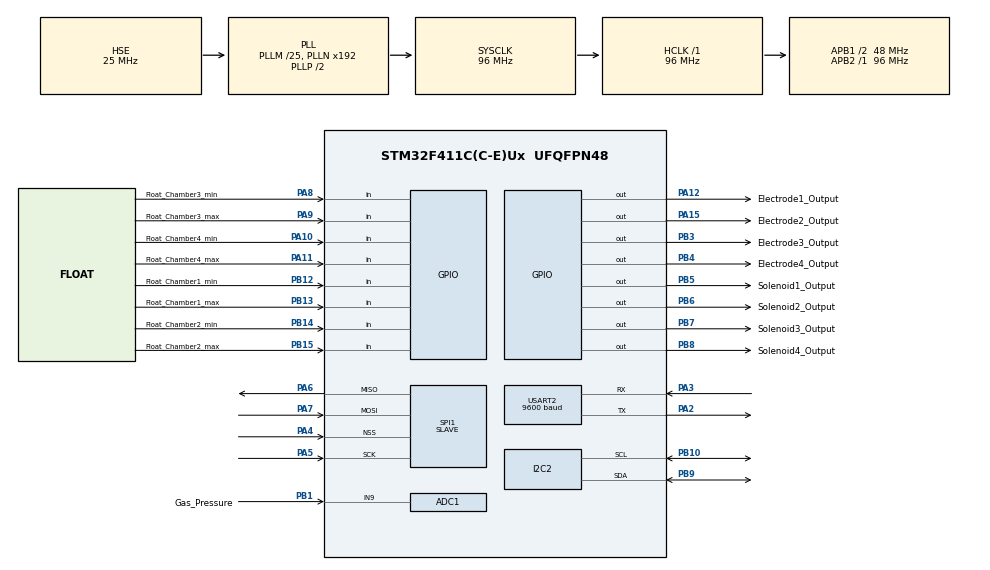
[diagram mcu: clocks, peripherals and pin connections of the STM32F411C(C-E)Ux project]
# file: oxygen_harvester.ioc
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ADC1.Channel-0\#ChannelRegularConversion=ADC_CHANNEL_9
ADC1.ContinuousConvMode=DISABLE
ADC1.NbrOfConversionFlag=1
ADC1.Rank-0\#ChannelRegularConversion=1
ADC1.SamplingTime-0\#ChannelRegularConversion=ADC_SAMPLETIME_3CYCLES
ADC1.master=1
Dma.Request0=USART2_RX
Dma.USART2_RX.0.Direction=DMA_PERIPH_TO_MEMORY
Dma.USART2_RX.0.FIFOMode=DMA_FIFOMODE_DISABLE
Dma.USART2_RX.0.Instance=DMA1_Stream5
Dma.USART2_RX.0.MemDataAlignment=DMA_MDATAALIGN_BYTE
Dma.USART2_RX.0.MemInc=DMA_MINC_ENABLE
Dma.USART2_RX.0.Mode=DMA_CIRCULAR
Dma.USART2_RX.0.PeriphDataAlignment=DMA_PDATAALIGN_BYTE
Dma.USART2_RX.0.PeriphInc=DMA_PINC_DISABLE
Dma.USART2_RX.0.Priority=DMA_PRIORITY_LOW
I2C2.I2C_Mode=I2C_Fast
Mcu.Family=STM32F4
Mcu.Name=STM32F411C(C-E)Ux
Mcu.Package=UFQFPN48
NVIC.DMA1_Stream5_IRQn=true\:0\:0\:false\:false\:true\:false\:true\:true
NVIC.PriorityGroup=NVIC_PRIORITYGROUP_4
NVIC.USART2_IRQn=true\:0\:0\:false\:false\:true\:true\:true\:true
PA10.GPIO_Label=Float_Chamber4_min
PA10.Signal=GPIO_Input
PA11.GPIO_Label=Float_Chamber4_max
PA11.Signal=GPIO_Input
PA12.GPIO_Label=Electrode1_Output
PA12.Signal=GPIO_Output
PA13.Mode=Serial_Wire
PA13.Signal=SYS_JTMS-SWDIO
PA14.Mode=Serial_Wire
PA14.Signal=SYS_JTCK-SWCLK
PA15.GPIO_Label=Electrode2_Output
PA15.Signal=GPIO_Output
PA2.Mode=Asynchronous
PA2.Signal=USART2_TX
PA3.Mode=Asynchronous
PA3.Signal=USART2_RX
PA4.Mode=NSS_Signal_Hard_Input
PA4.Signal=SPI1_NSS
PA5.Mode=Full_Duplex_Slave
PA5.Signal=SPI1_SCK
PA6.Mode=Full_Duplex_Slave
PA6.Signal=SPI1_MISO
PA7.Mode=Full_Duplex_Slave
PA7.Signal=SPI1_MOSI
PA8.GPIO_Label=Float_Chamber3_min
PA8.Signal=GPIO_Input
PA9.GPIO_Label=Float_Chamber3_max
PA9.Signal=GPIO_Input
PB1.GPIO_Label=Gas_Pressure
PB1.Signal=ADCx_IN9
PB10.Mode=I2C
PB10.Signal=I2C2_SCL
PB12.GPIO_Label=Float_Chamber1_min
PB12.Signal=GPIO_Input
PB13.GPIO_Label=Float_Chamber1_max
PB13.Signal=GPIO_Input
PB14.GPIO_Label=Float_Chamber2_min
PB14.Signal=GPIO_Input
PB15.GPIO_Label=Float_Chamber2_max
PB15.Signal=GPIO_Input
PB3.GPIO_Label=Electrode3_Output
PB3.Signal=GPIO_Output
PB4.GPIO_Label=Electrode4_Output
PB4.Signal=GPIO_Output
PB5.GPIO_Label=Solenoid1_Output
PB5.Signal=GPIO_Output
PB6.GPIO_Label=Solenoid2_Output
PB6.Signal=GPIO_Output
PB7.GPIO_Label=Solenoid3_Output
PB7.Signal=GPIO_Output
PB8.GPIO_Label=Solenoid4_Output
PB8.Signal=GPIO_Output
PB9.Mode=I2C
PB9.Signal=I2C2_SDA
PH0\ -\ OSC_IN.Mode=HSE-External-Oscillator
PH0\ -\ OSC_IN.Signal=RCC_OSC_IN
PH1\ -\ OSC_OUT.Mode=HSE-External-Oscillator
PH1\ -\ OSC_OUT.Signal=RCC_OSC_OUT
ProjectManager.HeapSize=0x200
ProjectManager.StackSize=0x400
ProjectManager.TargetToolchain=STM32CubeIDE
RCC.48MHZClocksFreq_Value=48000000
RCC.AHBFreq_Value=96000000
RCC.APB1CLKDivider=RCC_HCLK_DIV2
RCC.APB1Freq_Value=48000000
RCC.APB1TimFreq_Value=96000000
RCC.APB2Freq_Value=96000000
RCC.APB2TimFreq_Value=96000000
RCC.CortexFreq_Value=96000000
RCC.HCLKFreq_Value=96000000
RCC.HSE_VALUE=25000000
RCC.HSI_VALUE=16000000
RCC.LSE_VALUE=32768
RCC.PLLM=25
RCC.PLLSourceVirtual=RCC_PLLSOURCE_HSE
RCC.SYSCLKFreq_VALUE=96000000
RCC.SYSCLKSource=RCC_SYSCLKSOURCE_PLLCLK
RCC.VCOOutputFreq_Value=192000000
SH.ADCx_IN9.0=ADC1_IN9,IN9
SPI1.Direction=SPI_DIRECTION_2LINES
SPI1.Mode=SPI_MODE_SLAVE
SPI1.VirtualNSS=VM_NSSHARD
SPI1.VirtualType=VM_SLAVE
USART2.BaudRate=9600
USART2.VirtualMode=VM_ASYNC
board=custom

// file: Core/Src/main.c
/* USER CODE BEGIN Header */
/**
 ******************************************************************************
 * @file           : main.c
 * @brief          : Main program body
 ******************************************************************************
 * @attention
 *
 * Copyright (c) 2024 STMicroelectronics.
 * All rights reserved.
 *
 * This software is licensed under terms that can be found in the LICENSE file
 * in the root directory of this software component.
 * If no LICENSE file comes with this software, it is provided AS-IS.
 *
 ******************************************************************************
 */
/* USER CODE END Header */
#include "main.h"

/* USER CODE BEGIN Includes */
#include "stdio.h"
#include "ssd1306.h"
#include "ssd1306_funcs.h"
/* GAS CODE BEGIN Includes */
#include "gas.h"
#include <string.h>
/* GAS CODE END Includes */

/* water CODE BEGIN Includes */
#include "water.h"
/* water CODE END Includes */

/* USER CODE END Includes */

ADC_HandleTypeDef hadc1;

I2C_HandleTypeDef hi2c2;

SPI_HandleTypeDef hspi1;

UART_HandleTypeDef huart2;
DMA_HandleTypeDef hdma_usart2_rx;

/* USER CODE BEGIN PV */

/* GAS CODE BEGIN PV */

/* GAS CODE END PV */

/* USER CODE END PV */

void SystemClock_Config(void);
static void MX_GPIO_Init(void);
static void MX_DMA_Init(void);
static void MX_USART2_UART_Init(void);
static void MX_ADC1_Init(void);
static void MX_I2C2_Init(void);
static void MX_SPI1_Init(void);
/* USER CODE BEGIN PFP */

/* GAS CODE BEGIN PFP */
void HAL_UARTEx_RxEventCallback(UART_HandleTypeDef *huart, uint16_t buf_size);
/* GAS CODE END PFP */

/* USER CODE END PFP */

/* USER CODE BEGIN 0 */

/* GAS CODE BEGIN 0 */
void HAL_UART_RxCpltCallback(UART_HandleTypeDef *huart)
{
	if (huart->Instance == USART2)
	{
		HAL_UART_Receive_DMA(huart, gasRxBuffer, GASRXBUFSIZE);
		__HAL_DMA_DISABLE_IT(&hdma_usart2_rx, DMA_IT_HT);
	}
}
/* GAS CODE END 0 */

/* USER CODE END 0 */

int main(void)
{

  /* MCU Configuration--------------------------------------------------------*/

  /* Reset of all peripherals, Initializes the Flash interface and the Systick. */
  HAL_Init();

  /* Configure the system clock */
  SystemClock_Config();

  /* Initialize all configured peripherals */
  MX_GPIO_Init();
  MX_DMA_Init();
  MX_USART2_UART_Init();
  MX_ADC1_Init();
  MX_I2C2_Init();
  MX_SPI1_Init();
  /* USER CODE BEGIN 2 */
	HAL_Delay(1500);
	ssd1306_Init();
	/* GAS CODE BEGIN 2 */
	HAL_UART_Receive_DMA(&huart2, gasRxBuffer, GASRXBUFSIZE);
	__HAL_DMA_DISABLE_IT(&hdma_usart2_rx, DMA_IT_HT);
	/* GAS CODE END 2 */
	/* WATER CODE BEGIN 2 */
//	waterInitialization();
	power_electrodes(1, electrode_power_status);
	/* WATER CODE END 2 */
  /* USER CODE END 2 */

  /* Infinite loop */
  /* USER CODE BEGIN WHILE */
	while (1)
	{
		/* GAS CODE BEGIN WHILE */
		waterManagement();
		get_oxygen_params();
		manage_chambers();
		display_gas_parameters();
		HAL_Delay(100);
		/* GAS CODE END WHILE */

    /* USER CODE END WHILE */

	}
}

void SystemClock_Config(void)
{
  RCC_OscInitTypeDef RCC_OscInitStruct = {0};
  RCC_ClkInitTypeDef RCC_ClkInitStruct = {0};

  /** Configure the main internal regulator output voltage
  */
  __HAL_RCC_PWR_CLK_ENABLE();
  __HAL_PWR_VOLTAGESCALING_CONFIG(PWR_REGULATOR_VOLTAGE_SCALE1);

  /** Initializes the RCC Oscillators according to the specified parameters
  * in the RCC_OscInitTypeDef structure.
  */
  RCC_OscInitStruct.OscillatorType = RCC_OSCILLATORTYPE_HSE;
  RCC_OscInitStruct.HSEState = RCC_HSE_ON;
  RCC_OscInitStruct.PLL.PLLState = RCC_PLL_ON;
  RCC_OscInitStruct.PLL.PLLSource = RCC_PLLSOURCE_HSE;
  RCC_OscInitStruct.PLL.PLLM = 25;
  RCC_OscInitStruct.PLL.PLLN = 192;
  RCC_OscInitStruct.PLL.PLLP = RCC_PLLP_DIV2;
  RCC_OscInitStruct.PLL.PLLQ = 4;
  if (HAL_RCC_OscConfig(&RCC_OscInitStruct) != HAL_OK)
  {
    Error_Handler();
  }

  /** Initializes the CPU, AHB and APB buses clocks
  */
  RCC_ClkInitStruct.ClockType = RCC_CLOCKTYPE_HCLK|RCC_CLOCKTYPE_SYSCLK
                              |RCC_CLOCKTYPE_PCLK1|RCC_CLOCKTYPE_PCLK2;
  RCC_ClkInitStruct.SYSCLKSource = RCC_SYSCLKSOURCE_PLLCLK;
  RCC_ClkInitStruct.AHBCLKDivider = RCC_SYSCLK_DIV1;
  RCC_ClkInitStruct.APB1CLKDivider = RCC_HCLK_DIV2;
  RCC_ClkInitStruct.APB2CLKDivider = RCC_HCLK_DIV1;

  if (HAL_RCC_ClockConfig(&RCC_ClkInitStruct, FLASH_LATENCY_3) != HAL_OK)
  {
    Error_Handler();
  }
}

static void MX_ADC1_Init(void)
{

  ADC_ChannelConfTypeDef sConfig = {0};

  /** Configure the global features of the ADC (Clock, Resolution, Data Alignment and number of conversion)
  */
  hadc1.Instance = ADC1;
  hadc1.Init.ClockPrescaler = ADC_CLOCK_SYNC_PCLK_DIV4;
  hadc1.Init.Resolution = ADC_RESOLUTION_12B;
  hadc1.Init.ScanConvMode = DISABLE;
  hadc1.Init.ContinuousConvMode = DISABLE;
  hadc1.Init.DiscontinuousConvMode = DISABLE;
  hadc1.Init.ExternalTrigConvEdge = ADC_EXTERNALTRIGCONVEDGE_NONE;
  hadc1.Init.ExternalTrigConv = ADC_SOFTWARE_START;
  hadc1.Init.DataAlign = ADC_DATAALIGN_RIGHT;
  hadc1.Init.NbrOfConversion = 1;
  hadc1.Init.DMAContinuousRequests = DISABLE;
  hadc1.Init.EOCSelection = ADC_EOC_SINGLE_CONV;
  if (HAL_ADC_Init(&hadc1) != HAL_OK)
  {
    Error_Handler();
  }

  /** Configure for the selected ADC regular channel its corresponding rank in the sequencer and its sample time.
  */
  sConfig.Channel = ADC_CHANNEL_9;
  sConfig.Rank = 1;
  sConfig.SamplingTime = ADC_SAMPLETIME_3CYCLES;
  if (HAL_ADC_ConfigChannel(&hadc1, &sConfig) != HAL_OK)
  {
    Error_Handler();
  }

}

static void MX_I2C2_Init(void)
{

  hi2c2.Instance = I2C2;
  hi2c2.Init.ClockSpeed = 400000;
  hi2c2.Init.DutyCycle = I2C_DUTYCYCLE_2;
  hi2c2.Init.OwnAddress1 = 0;
  hi2c2.Init.AddressingMode = I2C_ADDRESSINGMODE_7BIT;
  hi2c2.Init.DualAddressMode = I2C_DUALADDRESS_DISABLE;
  hi2c2.Init.OwnAddress2 = 0;
  hi2c2.Init.GeneralCallMode = I2C_GENERALCALL_DISABLE;
  hi2c2.Init.NoStretchMode = I2C_NOSTRETCH_DISABLE;
  if (HAL_I2C_Init(&hi2c2) != HAL_OK)
  {
    Error_Handler();
  }

}

static void MX_SPI1_Init(void)
{

  /* SPI1 parameter configuration*/
  hspi1.Instance = SPI1;
  hspi1.Init.Mode = SPI_MODE_SLAVE;
  hspi1.Init.Direction = SPI_DIRECTION_2LINES;
  hspi1.Init.DataSize = SPI_DATASIZE_8BIT;
  hspi1.Init.CLKPolarity = SPI_POLARITY_LOW;
  hspi1.Init.CLKPhase = SPI_PHASE_1EDGE;
  hspi1.Init.NSS = SPI_NSS_HARD_INPUT;
  hspi1.Init.FirstBit = SPI_FIRSTBIT_MSB;
  hspi1.Init.TIMode = SPI_TIMODE_DISABLE;
  hspi1.Init.CRCCalculation = SPI_CRCCALCULATION_DISABLE;
  hspi1.Init.CRCPolynomial = 10;
  if (HAL_SPI_Init(&hspi1) != HAL_OK)
  {
    Error_Handler();
  }

}

static void MX_USART2_UART_Init(void)
{

  huart2.Instance = USART2;
  huart2.Init.BaudRate = 9600;
  huart2.Init.WordLength = UART_WORDLENGTH_8B;
  huart2.Init.StopBits = UART_STOPBITS_1;
  huart2.Init.Parity = UART_PARITY_NONE;
  huart2.Init.Mode = UART_MODE_TX_RX;
  huart2.Init.HwFlowCtl = UART_HWCONTROL_NONE;
  huart2.Init.OverSampling = UART_OVERSAMPLING_16;
  if (HAL_UART_Init(&huart2) != HAL_OK)
  {
    Error_Handler();
  }

}

static void MX_DMA_Init(void)
{

  /* DMA controller clock enable */
  __HAL_RCC_DMA1_CLK_ENABLE();

  /* DMA interrupt init */
  /* DMA1_Stream5_IRQn interrupt configuration */
  HAL_NVIC_SetPriority(DMA1_Stream5_IRQn, 0, 0);
  HAL_NVIC_EnableIRQ(DMA1_Stream5_IRQn);

}

static void MX_GPIO_Init(void)
{
  GPIO_InitTypeDef GPIO_InitStruct = {0};

  /* GPIO Ports Clock Enable */
  __HAL_RCC_GPIOH_CLK_ENABLE();
  __HAL_RCC_GPIOA_CLK_ENABLE();
  __HAL_RCC_GPIOB_CLK_ENABLE();

  /*Configure GPIO pin Output Level */
  HAL_GPIO_WritePin(GPIOA, Electrode1_Output_Pin|Electrode2_Output_Pin, GPIO_PIN_RESET);

  /*Configure GPIO pin Output Level */
  HAL_GPIO_WritePin(GPIOB, Electrode3_Output_Pin|Electrode4_Output_Pin|Solenoid1_Output_Pin|Solenoid2_Output_Pin
                          |Solenoid3_Output_Pin|Solenoid4_Output_Pin, GPIO_PIN_RESET);

  /*Configure GPIO pins : Float_Chamber1_min_Pin Float_Chamber1_max_Pin Float_Chamber2_min_Pin Float_Chamber2_max_Pin */
  GPIO_InitStruct.Pin = Float_Chamber1_min_Pin|Float_Chamber1_max_Pin|Float_Chamber2_min_Pin|Float_Chamber2_max_Pin;
  GPIO_InitStruct.Mode = GPIO_MODE_INPUT;
  GPIO_InitStruct.Pull = GPIO_NOPULL;
  HAL_GPIO_Init(GPIOB, &GPIO_InitStruct);

  /*Configure GPIO pins : Float_Chamber3_min_Pin Float_Chamber3_max_Pin Float_Chamber4_min_Pin Float_Chamber4_max_Pin */
  GPIO_InitStruct.Pin = Float_Chamber3_min_Pin|Float_Chamber3_max_Pin|Float_Chamber4_min_Pin|Float_Chamber4_max_Pin;
  GPIO_InitStruct.Mode = GPIO_MODE_INPUT;
  GPIO_InitStruct.Pull = GPIO_NOPULL;
  HAL_GPIO_Init(GPIOA, &GPIO_InitStruct);

  /*Configure GPIO pins : Electrode1_Output_Pin Electrode2_Output_Pin */
  GPIO_InitStruct.Pin = Electrode1_Output_Pin|Electrode2_Output_Pin;
  GPIO_InitStruct.Mode = GPIO_MODE_OUTPUT_PP;
  GPIO_InitStruct.Pull = GPIO_NOPULL;
  GPIO_InitStruct.Speed = GPIO_SPEED_FREQ_LOW;
  HAL_GPIO_Init(GPIOA, &GPIO_InitStruct);

  /*Configure GPIO pins : Electrode3_Output_Pin Electrode4_Output_Pin Solenoid1_Output_Pin Solenoid2_Output_Pin
                           Solenoid3_Output_Pin Solenoid4_Output_Pin */
  GPIO_InitStruct.Pin = Electrode3_Output_Pin|Electrode4_Output_Pin|Solenoid1_Output_Pin|Solenoid2_Output_Pin
                          |Solenoid3_Output_Pin|Solenoid4_Output_Pin;
  GPIO_InitStruct.Mode = GPIO_MODE_OUTPUT_PP;
  GPIO_InitStruct.Pull = GPIO_NOPULL;
  GPIO_InitStruct.Speed = GPIO_SPEED_FREQ_LOW;
  HAL_GPIO_Init(GPIOB, &GPIO_InitStruct);

}

void Error_Handler(void)
{
	__disable_irq();
	while (1)
	{
	}
}
